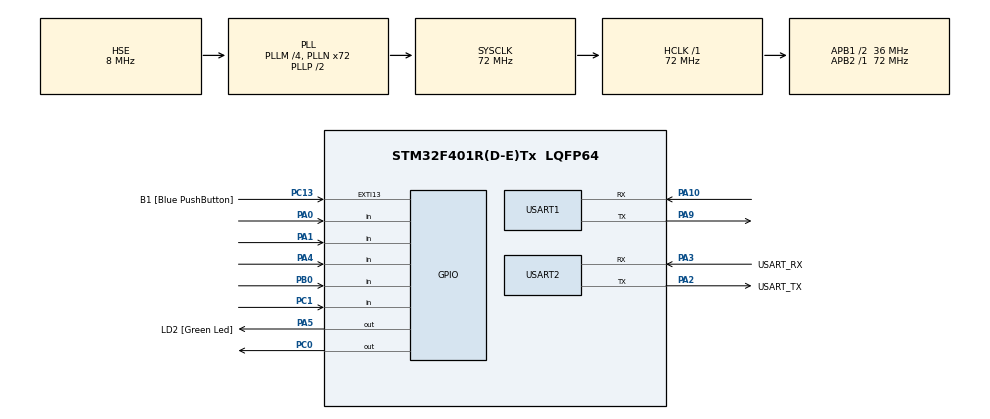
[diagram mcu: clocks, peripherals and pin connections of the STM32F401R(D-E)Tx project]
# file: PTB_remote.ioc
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Mcu.Family=STM32F4
Mcu.Name=STM32F401R(D-E)Tx
Mcu.Package=LQFP64
NVIC.PriorityGroup=NVIC_PRIORITYGROUP_0
PA0-WKUP.Signal=GPIO_Input
PA1.Signal=GPIO_Input
PA10.Mode=Asynchronous
PA10.Signal=USART1_RX
PA13.GPIO_Label=TMS
PA13.Mode=Serial_Wire
PA13.Signal=SYS_JTMS-SWDIO
PA14.GPIO_Label=TCK
PA14.Mode=Serial_Wire
PA14.Signal=SYS_JTCK-SWCLK
PA2.GPIO_Label=USART_TX
PA2.GPIO_Mode=GPIO_MODE_AF_PP
PA2.GPIO_PuPd=GPIO_NOPULL
PA2.GPIO_Speed=GPIO_SPEED_FREQ_LOW
PA2.Mode=Asynchronous
PA2.Signal=USART2_TX
PA3.GPIO_Label=USART_RX
PA3.GPIO_Mode=GPIO_MODE_AF_PP
PA3.GPIO_PuPd=GPIO_NOPULL
PA3.GPIO_Speed=GPIO_SPEED_FREQ_LOW
PA3.Mode=Asynchronous
PA3.Signal=USART2_RX
PA4.Signal=GPIO_Input
PA5.GPIO_Label=LD2 [Green Led]
PA5.GPIO_Mode=GPIO_MODE_OUTPUT_PP
PA5.GPIO_PuPd=GPIO_NOPULL
PA5.GPIO_Speed=GPIO_SPEED_FREQ_LOW
PA5.Signal=GPIO_Output
PA9.Mode=Asynchronous
PA9.Signal=USART1_TX
PB0.Signal=GPIO_Input
PB3.GPIO_Label=SWO
PB3.Signal=SYS_JTDO-SWO
PC0.Signal=GPIO_Output
PC1.Signal=GPIO_Input
PC13-ANTI_TAMP.GPIO_Label=B1 [Blue PushButton]
PC13-ANTI_TAMP.GPIO_ModeDefaultEXTI=GPIO_MODE_IT_FALLING
PC13-ANTI_TAMP.GPIO_PuPd=GPIO_NOPULL
PC13-ANTI_TAMP.Signal=GPXTI13
PC14-OSC32_IN.Mode=LSE-External-Oscillator
PC14-OSC32_IN.Signal=RCC_OSC32_IN
PC15-OSC32_OUT.Mode=LSE-External-Oscillator
PC15-OSC32_OUT.Signal=RCC_OSC32_OUT
PH0\ -\ OSC_IN.Mode=HSE-External-Oscillator
PH0\ -\ OSC_IN.Signal=RCC_OSC_IN
PH1\ -\ OSC_OUT.Mode=HSE-External-Oscillator
PH1\ -\ OSC_OUT.Signal=RCC_OSC_OUT
ProjectManager.HeapSize=0x200
ProjectManager.StackSize=0x400
ProjectManager.TargetToolchain=STM32CubeIDE
RCC.48MHZClocksFreq_Value=20571428.57142857
RCC.AHBFreq_Value=72000000
RCC.APB1CLKDivider=RCC_HCLK_DIV2
RCC.APB1Freq_Value=36000000
RCC.APB1TimFreq_Value=72000000
RCC.APB2Freq_Value=72000000
RCC.APB2TimFreq_Value=72000000
RCC.CortexFreq_Value=72000000
RCC.HCLKFreq_Value=72000000
RCC.HSE_VALUE=8000000
RCC.HSI_VALUE=16000000
RCC.PLLM=4
RCC.PLLN=72
RCC.PLLQ=7
RCC.PLLSourceVirtual=RCC_PLLSOURCE_HSE
RCC.SYSCLKFreq_VALUE=72000000
RCC.SYSCLKSource=RCC_SYSCLKSOURCE_PLLCLK
RCC.VCOOutputFreq_Value=144000000
USART1.VirtualMode=VM_ASYNC
USART2.VirtualMode=VM_ASYNC
board=NUCLEO-F401RE

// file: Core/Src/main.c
/* USER CODE BEGIN Header */
/**
  ******************************************************************************
  * @file           : main.c
  * @brief          : Main program body
  ******************************************************************************
  * @attention
  *
  * Copyright (c) 2024 STMicroelectronics.
  * All rights reserved.
  *
  * This software is licensed under terms that can be found in the LICENSE file
  * in the root directory of this software component.
  * If no LICENSE file comes with this software, it is provided AS-IS.
  *
  ******************************************************************************
  */
/* USER CODE END Header */
#include "main.h"

UART_HandleTypeDef huart1;
UART_HandleTypeDef huart2;

void SystemClock_Config(void);
static void MX_GPIO_Init(void);
static void MX_USART2_UART_Init(void);
static void MX_USART1_UART_Init(void);

int main(void)
{

  /* MCU Configuration--------------------------------------------------------*/

  /* Reset of all peripherals, Initializes the Flash interface and the Systick. */
  HAL_Init();

  /* USER CODE BEGIN Init */
  uint8_t high_temp = 0;
  uint8_t low_temp = 0;
  uint8_t time = 0;
  uint8_t data[3] = {0, 0, 0};
  uint8_t status = 0;
  /* USER CODE END Init */

  /* Configure the system clock */
  SystemClock_Config();

  /* Initialize all configured peripherals */
  MX_GPIO_Init();
  MX_USART2_UART_Init();
  MX_USART1_UART_Init();

  /* Infinite loop */
  while (1)
  {

    /* USER CODE BEGIN 3 */

	  /*if(HAL_UART_Receive(&huart1, &receivedSignal, 1, 1000) == HAL_OK){
		  if (receivedSignal == 1) {
		      // Activate the buzzer
			  HAL_GPIO_WritePin(GPIOC, GPIO_PIN_0, GPIO_PIN_SET);
			  HAL_Delay(1000);
			  HAL_GPIO_WritePin(GPIOC, GPIO_PIN_0, GPIO_PIN_RESET);
		  }
	  }*/
	  // Check if temperature is reached
	  /*if(HAL_UART_Receive(&huart1, &status, 1, 1000) == HAL_OK){
		  if (status == 1) {
			  // Activate the buzzer
		  	  HAL_GPIO_WritePin(GPIOC, GPIO_PIN_0, GPIO_PIN_SET);
		  	  HAL_Delay(1000);
		  	  HAL_GPIO_WritePin(GPIOC, GPIO_PIN_0, GPIO_PIN_RESET);
		  }
	  }*/

	  if(HAL_GPIO_ReadPin(GPIOA, GPIO_PIN_0) == GPIO_PIN_SET){ // White pressed
		  data[0] = 80;
		  data[1] = 70;
		  data[2] = 60;
	  }

	  else if(HAL_GPIO_ReadPin(GPIOA, GPIO_PIN_1) == GPIO_PIN_SET) //Green/yellow pressed
	  {
		  data[0] = 85;
		  data[1] = 70;
		  data[2] = 60;

		  // Buzzer code
		  HAL_GPIO_WritePin(GPIOC, GPIO_PIN_0, GPIO_PIN_SET);
		  HAL_Delay(1000);
		  HAL_GPIO_WritePin(GPIOC, GPIO_PIN_0, GPIO_PIN_RESET);
	  }

	  else if (HAL_GPIO_ReadPin(GPIOA, GPIO_PIN_4) == GPIO_PIN_SET) //Oolong pressed
	  {
		  data[0] = 85;
		  data[1] = 70;
		  data[2] = 120;
	  }
	  else if (HAL_GPIO_ReadPin(GPIOB, GPIO_PIN_0) == GPIO_PIN_SET) // Black pressed
	  {
		  data[0] = 100;
		  data[1] = 85;
		  data[2] = 180;
	  }
	  else if (HAL_GPIO_ReadPin(GPIOC, GPIO_PIN_1) == GPIO_PIN_SET) // Herbal pressed
	  {
		  data[0] = 100;
		  data[1] = 85;
		  data[2] = 180;
	  }

	  // Transmit all variables to kettleside only if button pressed
	  if(data[0] != 0 && data[1] != 0 && data[2] != 0){
		  HAL_UART_Transmit(&huart1, data, sizeof(data), HAL_MAX_DELAY);
		  if(HAL_UART_Receive(&huart1, &status, 1, HAL_MAX_DELAY) == HAL_OK){
		  	if (status == 1) {
		  		// Activate the buzzer
		  		HAL_GPIO_WritePin(GPIOC, GPIO_PIN_0, GPIO_PIN_SET);
		  		HAL_Delay(1000);
		  		HAL_GPIO_WritePin(GPIOC, GPIO_PIN_0, GPIO_PIN_RESET);
		  	}
		  }
	  }

	  data[0] = 0; data[1] = 0; data[2] = 0; // data reset
  }
  /* USER CODE END 3 */
}

void SystemClock_Config(void)
{
  RCC_OscInitTypeDef RCC_OscInitStruct = {0};
  RCC_ClkInitTypeDef RCC_ClkInitStruct = {0};

  /** Configure the main internal regulator output voltage
  */
  __HAL_RCC_PWR_CLK_ENABLE();
  __HAL_PWR_VOLTAGESCALING_CONFIG(PWR_REGULATOR_VOLTAGE_SCALE2);

  /** Initializes the RCC Oscillators according to the specified parameters
  * in the RCC_OscInitTypeDef structure.
  */
  RCC_OscInitStruct.OscillatorType = RCC_OSCILLATORTYPE_HSE;
  RCC_OscInitStruct.HSEState = RCC_HSE_ON;
  RCC_OscInitStruct.PLL.PLLState = RCC_PLL_ON;
  RCC_OscInitStruct.PLL.PLLSource = RCC_PLLSOURCE_HSE;
  RCC_OscInitStruct.PLL.PLLM = 4;
  RCC_OscInitStruct.PLL.PLLN = 72;
  RCC_OscInitStruct.PLL.PLLP = RCC_PLLP_DIV2;
  RCC_OscInitStruct.PLL.PLLQ = 7;
  if (HAL_RCC_OscConfig(&RCC_OscInitStruct) != HAL_OK)
  {
    Error_Handler();
  }

  /** Initializes the CPU, AHB and APB buses clocks
  */
  RCC_ClkInitStruct.ClockType = RCC_CLOCKTYPE_HCLK|RCC_CLOCKTYPE_SYSCLK
                              |RCC_CLOCKTYPE_PCLK1|RCC_CLOCKTYPE_PCLK2;
  RCC_ClkInitStruct.SYSCLKSource = RCC_SYSCLKSOURCE_PLLCLK;
  RCC_ClkInitStruct.AHBCLKDivider = RCC_SYSCLK_DIV1;
  RCC_ClkInitStruct.APB1CLKDivider = RCC_HCLK_DIV2;
  RCC_ClkInitStruct.APB2CLKDivider = RCC_HCLK_DIV1;

  if (HAL_RCC_ClockConfig(&RCC_ClkInitStruct, FLASH_LATENCY_2) != HAL_OK)
  {
    Error_Handler();
  }
}

static void MX_USART1_UART_Init(void)
{

  huart1.Instance = USART1;
  huart1.Init.BaudRate = 115200;
  huart1.Init.WordLength = UART_WORDLENGTH_8B;
  huart1.Init.StopBits = UART_STOPBITS_1;
  huart1.Init.Parity = UART_PARITY_NONE;
  huart1.Init.Mode = UART_MODE_TX_RX;
  huart1.Init.HwFlowCtl = UART_HWCONTROL_NONE;
  huart1.Init.OverSampling = UART_OVERSAMPLING_16;
  if (HAL_UART_Init(&huart1) != HAL_OK)
  {
    Error_Handler();
  }

}

static void MX_USART2_UART_Init(void)
{

  huart2.Instance = USART2;
  huart2.Init.BaudRate = 115200;
  huart2.Init.WordLength = UART_WORDLENGTH_8B;
  huart2.Init.StopBits = UART_STOPBITS_1;
  huart2.Init.Parity = UART_PARITY_NONE;
  huart2.Init.Mode = UART_MODE_TX_RX;
  huart2.Init.HwFlowCtl = UART_HWCONTROL_NONE;
  huart2.Init.OverSampling = UART_OVERSAMPLING_16;
  if (HAL_UART_Init(&huart2) != HAL_OK)
  {
    Error_Handler();
  }

}

static void MX_GPIO_Init(void)
{
  GPIO_InitTypeDef GPIO_InitStruct = {0};

  /* GPIO Ports Clock Enable */
  __HAL_RCC_GPIOC_CLK_ENABLE();
  __HAL_RCC_GPIOH_CLK_ENABLE();
  __HAL_RCC_GPIOA_CLK_ENABLE();
  __HAL_RCC_GPIOB_CLK_ENABLE();

  /*Configure GPIO pin Output Level */
  HAL_GPIO_WritePin(GPIOC, GPIO_PIN_0, GPIO_PIN_RESET);

  /*Configure GPIO pin Output Level */
  HAL_GPIO_WritePin(LD2_GPIO_Port, LD2_Pin, GPIO_PIN_RESET);

  /*Configure GPIO pin : B1_Pin */
  GPIO_InitStruct.Pin = B1_Pin;
  GPIO_InitStruct.Mode = GPIO_MODE_IT_FALLING;
  GPIO_InitStruct.Pull = GPIO_NOPULL;
  HAL_GPIO_Init(B1_GPIO_Port, &GPIO_InitStruct);

  /*Configure GPIO pin : PC0 */
  GPIO_InitStruct.Pin = GPIO_PIN_0;
  GPIO_InitStruct.Mode = GPIO_MODE_OUTPUT_PP;
  GPIO_InitStruct.Pull = GPIO_NOPULL;
  GPIO_InitStruct.Speed = GPIO_SPEED_FREQ_LOW;
  HAL_GPIO_Init(GPIOC, &GPIO_InitStruct);

  /*Configure GPIO pin : PC1 */
  GPIO_InitStruct.Pin = GPIO_PIN_1;
  GPIO_InitStruct.Mode = GPIO_MODE_INPUT;
  GPIO_InitStruct.Pull = GPIO_NOPULL;
  HAL_GPIO_Init(GPIOC, &GPIO_InitStruct);

  /*Configure GPIO pins : PA0 PA1 PA4 */
  GPIO_InitStruct.Pin = GPIO_PIN_0|GPIO_PIN_1|GPIO_PIN_4;
  GPIO_InitStruct.Mode = GPIO_MODE_INPUT;
  GPIO_InitStruct.Pull = GPIO_NOPULL;
  HAL_GPIO_Init(GPIOA, &GPIO_InitStruct);

  /*Configure GPIO pin : LD2_Pin */
  GPIO_InitStruct.Pin = LD2_Pin;
  GPIO_InitStruct.Mode = GPIO_MODE_OUTPUT_PP;
  GPIO_InitStruct.Pull = GPIO_NOPULL;
  GPIO_InitStruct.Speed = GPIO_SPEED_FREQ_LOW;
  HAL_GPIO_Init(LD2_GPIO_Port, &GPIO_InitStruct);

  /*Configure GPIO pin : PB0 */
  GPIO_InitStruct.Pin = GPIO_PIN_0;
  GPIO_InitStruct.Mode = GPIO_MODE_INPUT;
  GPIO_InitStruct.Pull = GPIO_NOPULL;
  HAL_GPIO_Init(GPIOB, &GPIO_InitStruct);

}

void Error_Handler(void)
{
  __disable_irq();
  while (1)
  {
  }
}
